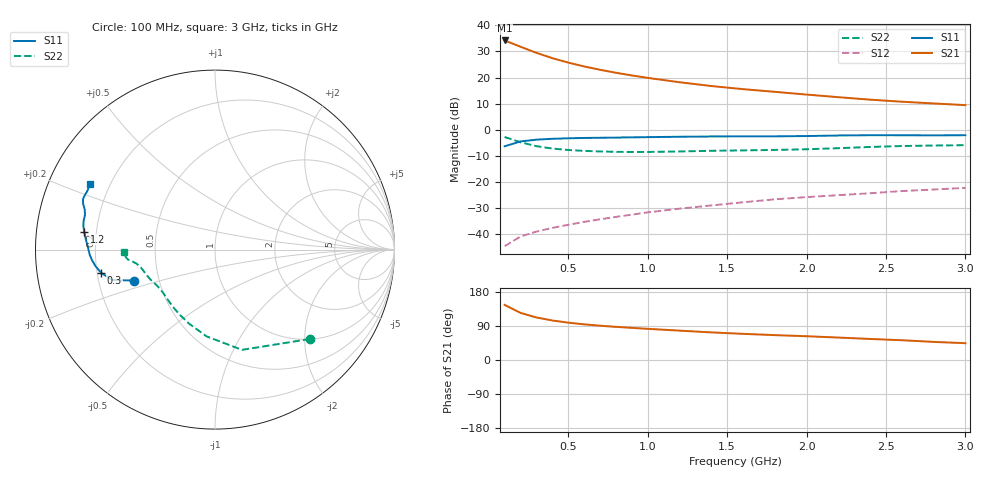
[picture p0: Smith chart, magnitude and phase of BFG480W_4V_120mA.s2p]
! Filename: 4120BFG480.001
! Title: BFG480W
! Bias: Vce=4V; Ic=120mA
! Company: Philips Semiconductors NL
! User: Quality&Reliability T&D
! Measure time: 10 Nov 1999 / 12:04:25
#  MHz  S  MA  R 50
! Freq  S11  S21  S12  S22  :
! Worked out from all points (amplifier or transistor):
!   20 points, 100 MHz to 3 GHz, reference 50 ohm
!   highest |S21| = 34.2 dB at 100 MHz (marker M1)
!   |S21| within 3 dB of that: start of sweep to 226 MHz
!   unconditionally stable (mu >= 1): 640.6 MHz to end of sweep
!   at 400 MHz: K = 0.86, MSG = 32.5 dB, |S12| = -37.5 dB
!   at 1.2 GHz: K = 1.09, MAG = 22.4 dB, |S12| = -30.2 dB
!   at 3 GHz: K = 1.05, MAG = 14.5 dB, |S12| = -22.2 dB
!   S11 on the Smith chart (normalised r, x): 100 MHz: 0.36, -0.16; 300 MHz: 0.22, -0.10; 1.2 GHz: 0.15, +0.07; 3 GHz: 0.13, +0.24
100  0.4829 -159.0  51.2 145.4  0.00593 69.0  0.7269 -43.2
200  0.5982 -163.6  38.89 124.3  0.009076 60.9  0.5784 -75.0
300  0.6476 -168.5  29.66 112.2  0.01127 60.3  0.4862 -95.4
400  0.6727 -172.2  23.5 104.3  0.01327 62.7  0.4373 -109.3
500  0.6872 -175.0  19.33 98.6  0.01521 65.1  0.4107 -119.3
600  0.6978 -177.4  16.3 94.1  0.01731 67.0  0.395 -126.7
700  0.7035 -179.5  14.08 90.5  0.01934 69.2  0.3848 -132.4
800  0.7093 178.6  12.34 87.4  0.02156 70.8  0.3785 -137.1
900  0.7165 176.8  10.96 84.8  0.02379 72.4  0.376 -141.2
1000  0.7235 175.1  9.854 82.3  0.02628 73.4  0.3765 -144.9
1200  0.7356 172.2  8.128 77.5  0.03094 74.8  0.3849 -150.8
1400  0.7446 170.0  6.876 72.9  0.03562 75.6  0.3962 -155.1
1600  0.7495 167.7  5.996 69.0  0.04097 76.2  0.4034 -158.4
1800  0.7496 165.1  5.328 65.6  0.04673 76.6  0.4119 -162.0
2000  0.7589 162.9  4.716 62.7  0.05145 77.2  0.4241 -166.3
2200  0.7775 160.9  4.208 59.2  0.05607 76.9  0.4445 -169.9
2400  0.7874 159.1  3.77 55.6  0.06103 76.4  0.4694 -172.2
2600  0.7862 157.5  3.444 52.2  0.06728 75.6  0.4892 -173.6
2800  0.7823 155.2  3.192 47.8  0.072 74.2  0.4995 -175.4
3000  0.7872 152.5  2.964 44.4  0.07743 73.3  0.5077 -178.2
